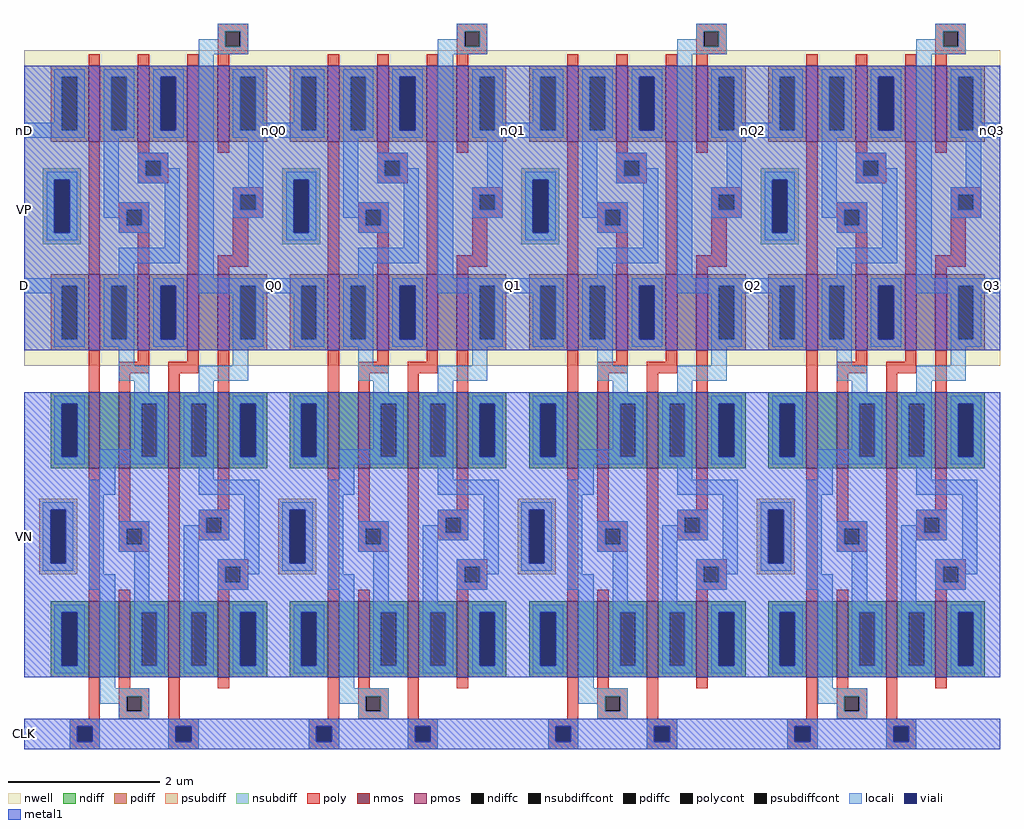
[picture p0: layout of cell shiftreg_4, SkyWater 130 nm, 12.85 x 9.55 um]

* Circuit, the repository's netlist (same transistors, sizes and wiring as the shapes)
* SPICE3 file created from shiftreg_4_lvs.ext - technology: sky130A

.subckt dff D nD CLK VP VN Q nQ
X0 nQ Q a_290_980# VP sky130_fd_pr__pfet_01v8 ad=5e+11p pd=3e+06u as=2.5e+11p ps=2.5e+06u w=1e+06u l=150000u
X1 a_30_430# CLK D VP sky130_fd_pr__pfet_01v8 ad=5e+11p pd=3e+06u as=5e+11p ps=3e+06u w=1e+06u l=150000u
X2 a_30_n430# CLK VN VN sky130_fd_pr__nfet_01v8 ad=2.5e+11p pd=2.5e+06u as=2e+12p ps=1.2e+07u w=1e+06u l=150000u
X3 a_290_980# CLK VP VP sky130_fd_pr__pfet_01v8 ad=0p pd=0u as=1e+12p ps=6e+06u w=1e+06u l=150000u
X4 Q CLK a_30_430# VN sky130_fd_pr__nfet_01v8 ad=5e+11p pd=3e+06u as=5e+11p ps=3e+06u w=1e+06u l=150000u
X5 a_30_980# CLK nD VP sky130_fd_pr__pfet_01v8 ad=5e+11p pd=3e+06u as=5e+11p ps=3e+06u w=1e+06u l=150000u
X6 a_30_430# a_30_980# a_30_120# VN sky130_fd_pr__nfet_01v8 ad=0p pd=0u as=2.5e+11p ps=2.5e+06u w=1e+06u l=150000u
X7 VN Q nQ VN sky130_fd_pr__nfet_01v8 ad=0p pd=0u as=5e+11p ps=3e+06u w=1e+06u l=150000u
X8 VN nQ Q VN sky130_fd_pr__nfet_01v8 ad=0p pd=0u as=0p ps=0u w=1e+06u l=150000u
X9 VP a_30_980# a_30_430# VP sky130_fd_pr__pfet_01v8 ad=0p pd=0u as=0p ps=0u w=1e+06u l=150000u
X10 a_30_120# CLK VN VN sky130_fd_pr__nfet_01v8 ad=0p pd=0u as=0p ps=0u w=1e+06u l=150000u
X11 Q nQ a_290_430# VP sky130_fd_pr__pfet_01v8 ad=5e+11p pd=3e+06u as=2.5e+11p ps=2.5e+06u w=1e+06u l=150000u
X12 a_30_980# a_30_430# a_30_n430# VN sky130_fd_pr__nfet_01v8 ad=5e+11p pd=3e+06u as=0p ps=0u w=1e+06u l=150000u
X13 VP a_30_430# a_30_980# VP sky130_fd_pr__pfet_01v8 ad=0p pd=0u as=0p ps=0u w=1e+06u l=150000u
X14 a_290_430# CLK VP VP sky130_fd_pr__pfet_01v8 ad=0p pd=0u as=0p ps=0u w=1e+06u l=150000u
X15 nQ CLK a_30_980# VN sky130_fd_pr__nfet_01v8 ad=0p pd=0u as=0p ps=0u w=1e+06u l=150000u
.ends


* Top level circuit shiftreg_4_lvs

Xdff_0 D nD CLK VP VN Q0 nQ0 dff
Xdff_1 Q0 nQ0 CLK VP VN Q1 nQ1 dff
Xdff_2 Q1 nQ1 CLK VP VN Q2 nQ2 dff
Xdff_3 Q2 nQ2 CLK VP VN Q3 nQ3 dff
.end

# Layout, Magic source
magic
tech sky130A
<< locali >>
rect -100 550 -80 570
rect 220 550 240 570
rect 535 550 555 570
rect 850 550 870 570
rect 1165 550 1185 570
rect -100 345 -80 365
rect 220 345 240 365
rect 535 345 555 365
rect 850 345 870 365
rect 1165 345 1185 365
<< metal1 >>
rect -100 270 -85 645
rect -100 -160 -85 215
rect -100 -255 -60 -215
use dff  dff_0
transform 1 0 -15 0 1 55
box -85 -310 255 645
use dff  dff_1
transform 1 0 300 0 1 55
box -85 -310 255 645
use dff  dff_2
transform 1 0 615 0 1 55
box -85 -310 255 645
use dff  dff_3
transform 1 0 930 0 1 55
box -85 -310 255 645
<< labels >>
rlabel metal1 -100 -235 -100 -235 7 CLK
rlabel metal1 -100 25 -100 25 7 VN
rlabel metal1 -100 455 -100 455 7 VP
rlabel locali -100 560 -100 560 7 nD
rlabel locali -100 355 -100 355 7 D
rlabel locali 230 355 230 355 7 Q0
rlabel locali 230 560 230 560 7 nQ0
rlabel locali 545 560 545 560 7 nQ1
rlabel locali 545 355 545 355 7 Q1
rlabel locali 860 560 860 560 7 nQ2
rlabel locali 860 355 860 355 7 Q2
rlabel locali 1175 355 1175 355 7 Q3
rlabel locali 1175 560 1175 560 7 nQ3
<< end >>

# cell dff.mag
magic
tech sky130A
<< nwell >>
rect -85 195 255 610
<< nmos >>
rect 0 60 15 160
rect 40 60 55 160
rect 105 60 120 160
rect 170 60 185 160
rect 0 -215 15 -115
rect 40 -215 55 -115
rect 105 -215 120 -115
rect 170 -215 185 -115
<< pmos >>
rect 0 490 15 590
rect 65 490 80 590
rect 130 490 145 590
rect 170 490 185 590
rect 0 215 15 315
rect 65 215 80 315
rect 130 215 145 315
rect 170 215 185 315
<< ndiff >>
rect -50 145 0 160
rect -50 75 -35 145
rect -15 75 0 145
rect -50 60 0 75
rect 15 60 40 160
rect 55 145 105 160
rect 55 75 70 145
rect 90 75 105 145
rect 55 60 105 75
rect 120 145 170 160
rect 120 75 135 145
rect 155 75 170 145
rect 120 60 170 75
rect 185 145 235 160
rect 185 75 200 145
rect 220 75 235 145
rect 185 60 235 75
rect -50 -130 0 -115
rect -50 -200 -35 -130
rect -15 -200 0 -130
rect -50 -215 0 -200
rect 15 -215 40 -115
rect 55 -130 105 -115
rect 55 -200 70 -130
rect 90 -200 105 -130
rect 55 -215 105 -200
rect 120 -130 170 -115
rect 120 -200 135 -130
rect 155 -200 170 -130
rect 120 -215 170 -200
rect 185 -130 235 -115
rect 185 -200 200 -130
rect 220 -200 235 -130
rect 185 -215 235 -200
<< pdiff >>
rect -50 575 0 590
rect -50 505 -35 575
rect -15 505 0 575
rect -50 490 0 505
rect 15 575 65 590
rect 15 505 30 575
rect 50 505 65 575
rect 15 490 65 505
rect 80 575 130 590
rect 80 505 95 575
rect 115 505 130 575
rect 80 490 130 505
rect 145 490 170 590
rect 185 575 235 590
rect 185 505 200 575
rect 220 505 235 575
rect 185 490 235 505
rect -50 300 0 315
rect -50 230 -35 300
rect -15 230 0 300
rect -50 215 0 230
rect 15 300 65 315
rect 15 230 30 300
rect 50 230 65 300
rect 15 215 65 230
rect 80 300 130 315
rect 80 230 95 300
rect 115 230 130 300
rect 80 215 130 230
rect 145 215 170 315
rect 185 300 235 315
rect 185 230 200 300
rect 220 230 235 300
rect 185 215 235 230
<< ndiffc >>
rect -35 75 -15 145
rect 70 75 90 145
rect 135 75 155 145
rect 200 75 220 145
rect -35 -200 -15 -130
rect 70 -200 90 -130
rect 135 -200 155 -130
rect 200 -200 220 -130
<< pdiffc >>
rect -35 505 -15 575
rect 30 505 50 575
rect 95 505 115 575
rect 200 505 220 575
rect -35 230 -15 300
rect 30 230 50 300
rect 95 230 115 300
rect 200 230 220 300
<< psubdiff >>
rect -65 5 -15 20
rect -65 -65 -50 5
rect -30 -65 -15 5
rect -65 -80 -15 -65
<< nsubdiff >>
rect -60 440 -10 455
rect -60 370 -45 440
rect -25 370 -10 440
rect -60 355 -10 370
<< psubdiffcont >>
rect -50 -65 -30 5
<< nsubdiffcont >>
rect -45 370 -25 440
<< poly >>
rect 170 635 210 645
rect 170 615 180 635
rect 200 615 210 635
rect 170 605 210 615
rect 0 590 15 605
rect 65 590 80 605
rect 130 590 145 605
rect 170 590 185 605
rect 0 315 15 490
rect 65 475 80 490
rect 65 465 105 475
rect 65 445 75 465
rect 95 445 105 465
rect 65 435 105 445
rect 40 400 80 410
rect 40 380 50 400
rect 70 380 80 400
rect 40 370 80 380
rect 65 315 80 370
rect 130 315 145 490
rect 170 475 185 490
rect 190 420 230 430
rect 190 400 200 420
rect 220 400 230 420
rect 190 390 230 400
rect 190 340 210 390
rect 170 325 210 340
rect 170 315 185 325
rect 0 160 15 215
rect 65 200 80 215
rect 130 200 145 215
rect 40 185 80 200
rect 105 185 145 200
rect 40 160 55 185
rect 105 160 120 185
rect 170 160 185 215
rect 0 -115 15 60
rect 40 -10 55 60
rect 40 -20 80 -10
rect 40 -40 50 -20
rect 70 -40 80 -20
rect 40 -50 80 -40
rect 40 -115 55 -100
rect 105 -115 120 60
rect 170 5 185 60
rect 145 -5 185 5
rect 145 -25 155 -5
rect 175 -25 185 -5
rect 145 -35 185 -25
rect 170 -70 210 -60
rect 170 -90 180 -70
rect 200 -90 210 -70
rect 170 -100 210 -90
rect 170 -115 185 -100
rect 0 -270 15 -215
rect 40 -230 55 -215
rect 40 -240 80 -230
rect 40 -260 50 -240
rect 70 -260 80 -240
rect 40 -270 80 -260
rect 105 -270 120 -215
rect 170 -230 185 -215
rect -25 -280 15 -270
rect -25 -300 -15 -280
rect 5 -300 15 -280
rect -25 -310 15 -300
rect 105 -280 145 -270
rect 105 -300 115 -280
rect 135 -300 145 -280
rect 105 -310 145 -300
<< polycont >>
rect 180 615 200 635
rect 75 445 95 465
rect 50 380 70 400
rect 200 400 220 420
rect 50 -40 70 -20
rect 155 -25 175 -5
rect 180 -90 200 -70
rect 50 -260 70 -240
rect -15 -300 5 -280
rect 115 -300 135 -280
<< locali >>
rect 170 635 210 645
rect 170 625 180 635
rect 145 615 180 625
rect 200 615 210 635
rect 145 605 210 615
rect -45 575 -5 585
rect -45 515 -35 575
rect -85 505 -35 515
rect -15 505 -5 575
rect -85 495 -5 505
rect 20 575 60 585
rect 20 505 30 575
rect 50 505 60 575
rect 20 495 60 505
rect 85 575 125 585
rect 85 505 95 575
rect 115 505 125 575
rect 85 495 125 505
rect -55 440 -15 450
rect -55 370 -45 440
rect -25 370 -15 440
rect 20 410 40 495
rect 65 465 105 475
rect 65 445 75 465
rect 95 455 105 465
rect 95 445 120 455
rect 65 435 120 445
rect 20 400 80 410
rect 20 390 50 400
rect 40 380 50 390
rect 70 380 80 400
rect 40 370 80 380
rect -55 360 -15 370
rect 100 350 120 435
rect 40 330 120 350
rect 40 310 60 330
rect 145 310 165 605
rect 190 575 230 585
rect 190 505 200 575
rect 220 515 230 575
rect 220 505 255 515
rect 190 495 255 505
rect 210 430 230 495
rect 190 420 230 430
rect 190 400 200 420
rect 220 400 230 420
rect 190 390 230 400
rect -85 300 -5 310
rect -85 290 -35 300
rect -45 230 -35 290
rect -15 230 -5 300
rect -45 220 -5 230
rect 20 300 60 310
rect 20 230 30 300
rect 50 230 60 300
rect 20 220 60 230
rect 85 300 125 310
rect 85 230 95 300
rect 115 230 125 300
rect 145 300 255 310
rect 145 290 200 300
rect 85 220 125 230
rect 190 230 200 290
rect 220 290 255 300
rect 220 230 230 290
rect 190 220 230 230
rect 40 195 60 220
rect 190 195 210 220
rect 40 175 80 195
rect 60 155 80 175
rect 145 175 210 195
rect 145 155 165 175
rect -45 145 -5 155
rect -45 75 -35 145
rect -15 75 -5 145
rect 60 145 100 155
rect 60 85 70 145
rect -45 65 -5 75
rect 15 75 70 85
rect 90 75 100 145
rect 15 65 100 75
rect 125 145 165 155
rect 125 75 135 145
rect 155 75 165 145
rect 125 65 165 75
rect 190 145 230 155
rect 190 75 200 145
rect 220 75 230 145
rect 190 65 230 75
rect 15 45 35 65
rect 0 25 35 45
rect 145 45 165 65
rect 145 25 225 45
rect -60 5 -20 15
rect -60 -65 -50 5
rect -30 -65 -20 5
rect -60 -75 -20 -65
rect 0 -80 20 25
rect 145 -5 185 5
rect 40 -20 80 -10
rect 145 -15 155 -5
rect 40 -40 50 -20
rect 70 -40 80 -20
rect 40 -50 80 -40
rect 0 -100 35 -80
rect -45 -130 -5 -120
rect -45 -200 -35 -130
rect -15 -200 -5 -130
rect -45 -210 -5 -200
rect 15 -230 35 -100
rect 60 -120 80 -50
rect 125 -25 155 -15
rect 175 -25 185 -5
rect 125 -35 185 -25
rect 125 -120 145 -35
rect 205 -60 225 25
rect 170 -70 225 -60
rect 170 -90 180 -70
rect 200 -80 225 -70
rect 200 -90 210 -80
rect 170 -100 210 -90
rect 60 -130 100 -120
rect 60 -200 70 -130
rect 90 -200 100 -130
rect 60 -210 100 -200
rect 125 -130 165 -120
rect 125 -200 135 -130
rect 155 -200 165 -130
rect 125 -210 165 -200
rect 190 -130 230 -120
rect 190 -200 200 -130
rect 220 -200 230 -130
rect 190 -210 230 -200
rect 15 -240 80 -230
rect 15 -250 50 -240
rect 40 -260 50 -250
rect 70 -260 80 -240
rect 40 -270 80 -260
rect -25 -280 15 -270
rect -25 -300 -15 -280
rect 5 -300 15 -280
rect -25 -310 15 -300
rect 105 -280 145 -270
rect 105 -300 115 -280
rect 135 -300 145 -280
rect 105 -310 145 -300
<< viali >>
rect 95 505 115 575
rect -45 370 -25 440
rect 95 230 115 300
rect -35 75 -15 145
rect 200 75 220 145
rect -50 -65 -30 5
rect -35 -200 -15 -130
rect 200 -200 220 -130
rect -15 -300 5 -280
rect 115 -300 135 -280
<< metal1 >>
rect -85 575 255 590
rect -85 505 95 575
rect 115 505 255 575
rect -85 440 255 505
rect -85 370 -45 440
rect -25 370 255 440
rect -85 300 255 370
rect -85 230 95 300
rect 115 230 255 300
rect -85 215 255 230
rect -85 145 255 160
rect -85 75 -35 145
rect -15 75 200 145
rect 220 75 255 145
rect -85 5 255 75
rect -85 -65 -50 5
rect -30 -65 255 5
rect -85 -130 255 -65
rect -85 -200 -35 -130
rect -15 -200 200 -130
rect 220 -200 255 -130
rect -85 -215 255 -200
rect -85 -280 255 -270
rect -85 -300 -15 -280
rect 5 -300 115 -280
rect 135 -300 255 -280
rect -85 -310 255 -300
<< labels >>
rlabel metal1 -85 -40 -85 -40 7 VN
port 5 w
rlabel metal1 -85 400 -85 400 7 VP
port 4 w
rlabel locali -85 300 -85 300 7 D
port 1 w
rlabel locali -85 505 -85 505 7 nD
port 2 w
rlabel metal1 -85 -290 -85 -290 7 CLK
port 3 w
rlabel locali 255 300 255 300 3 Q
port 6 e
rlabel locali 255 505 255 505 3 nQ
port 7 e
<< end >>
